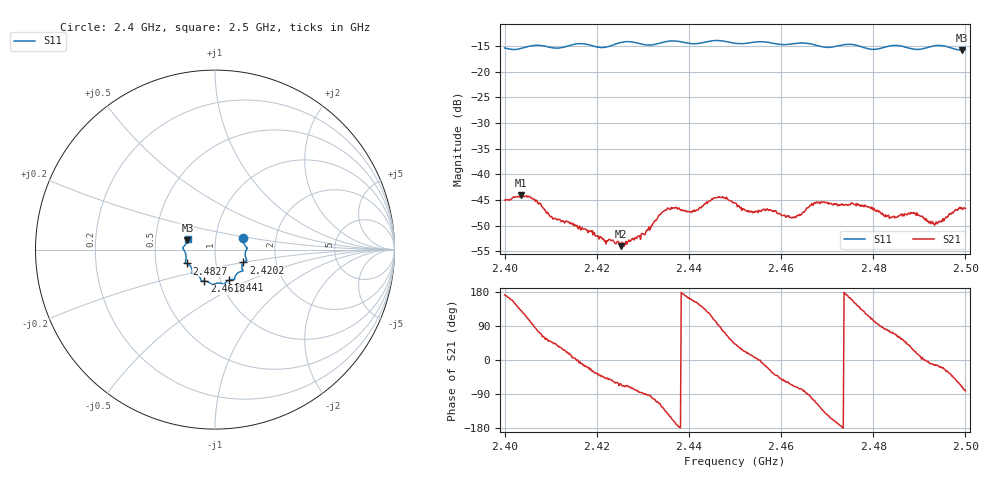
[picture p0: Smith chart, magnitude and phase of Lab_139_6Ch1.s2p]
# Hz S RI R 50
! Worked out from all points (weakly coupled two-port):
!   601 points, 2.4 GHz to 2.5 GHz, reference 50 ohm
!   highest |S21| = -44.09 dB at 2.4035 GHz (marker M1); lowest = -54.0 dB at 2.4252 GHz (marker M2)
!   lowest |S11| = -15.8 dB at 2.4993 GHz (marker M3), VSWR 1.39, Z = 36.5 + j3.85 ohm
!   |S11| at or under -10 dB: start of sweep to end of sweep
!   S12 and S22 are empty: the file has one direction only
!   S11 on the Smith chart (normalised r, x): 2.4 GHz: 1.36, +0.18; 2.4202 GHz: 1.36, -0.20; 2.441 GHz: 1.10, -0.39; 2.4618 GHz: 0.84, -0.30; 2.4827 GHz: 0.72, -0.12; 2.5 GHz: 0.73, +0.09
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2.4e9  0.1585 0.0627  -0.00554 0.00079  0 0  0 0
2.4035e9  0.1664 0.0233  -0.00409 0.00472  0 0  0 0
2.4065e9  0.1803 0.01  0.000305 0.00569  0 0  0 0
2.410333e9  0.1709 -0.00909  0.0026 0.00276  0 0  0 0
2.416667e9  0.1775 -0.0607  0.00292 -0.000482  0 0  0 0
2.420167e9  0.1581 -0.0713  0.00199 -0.00155  0 0  0 0
2.425167e9  0.1546 -0.1142  0.000927 -0.00176  0 0  0 0
2.43e9  0.1363 -0.1245  0.000119 -0.00264  0 0  0 0
2.433333e9  0.1115 -0.1509  -0.00146 -0.00356  0 0  0 0
2.436667e9  0.1087 -0.1674  -0.00445 -0.00155  0 0  0 0
2.441e9  0.0785 -0.1698  -0.00394 0.00185  0 0  0 0
2.446e9  0.05 -0.195  -0.000948 0.00583  0 0  0 0
2.45e9  0.0285 -0.187  0.00388 0.00351  0 0  0 0
2.461833e9  -0.0595 -0.1754  0.00178 -0.00335  0 0  0 0
2.466667e9  -0.0782 -0.1682  -0.000972 -0.00509  0 0  0 0
2.475667e9  -0.1275 -0.132  -0.00465 0.0022  0 0  0 0
2.482667e9  -0.1561 -0.0772  0.000618 0.00398  0 0  0 0
2.483333e9  -0.1604 -0.0753  0.000939 0.00388  0 0  0 0
2.488667e9  -0.1608 -0.0413  0.00376 0.00181  0 0  0 0
2.4935e9  -0.1793 0.00713  0.00324 -0.000713  0 0  0 0
2.499333e9  -0.1538 0.0513  0.00151 -0.0043  0 0  0 0
2.5e9  -0.1522 0.0609  0.000708 -0.00458  0 0  0 0
